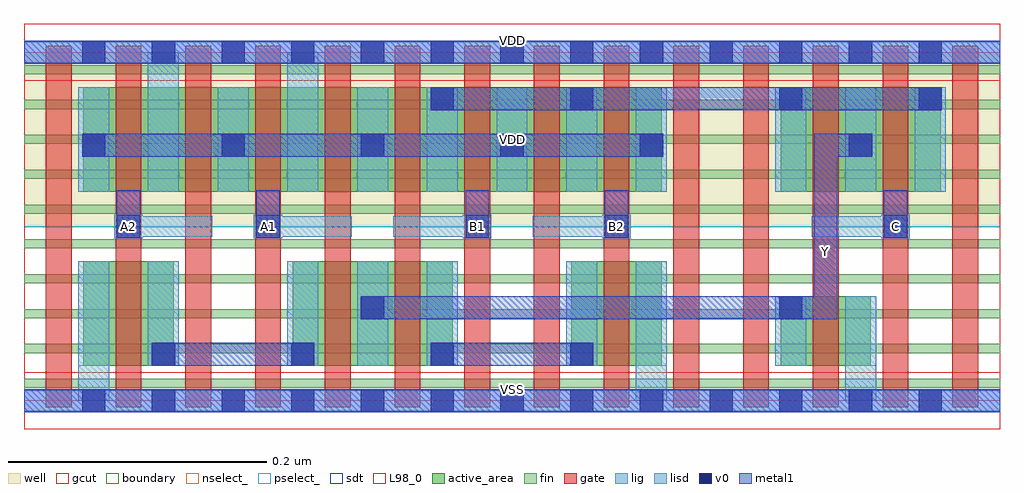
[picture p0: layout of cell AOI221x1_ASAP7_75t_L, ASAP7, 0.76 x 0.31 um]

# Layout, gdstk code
import gdstk
lib = gdstk.Library(unit=1e-6, precision=2.5e-10)
def R(c, l, rs):  # rectangles x0, y0, x1, y1
    for r in rs: c.add(gdstk.rectangle(r[:2], r[2:], *l))
def A(c, l, x, y, w, h, nx, ny, dx, dy):  # array of equal rectangles
    R(c, l, [(x+i*dx, y+j*dy, x+i*dx+w, y+j*dy+h) for i in range(nx) for j in range(ny)])
def P(c, l, *ps):  # polygons
    for p in ps: c.add(gdstk.Polygon(p, *l))
well = (1, 0)
fin = (2, 0)
gate = (7, 0)
gcut = (10, 0)
active_area = (11, 0)
nselect_ = (12, 0)
pselect_ = (13, 0)
lig = (16, 0)
lisd = (17, 0)
v0 = (18, 0)
metal1 = (19, 0)
sdt = (88, 0)
L98_0 = (98, 0)
boundary = (100, 0)

aoi221x1_asap7_75t_l = lib.new_cell('AOI221x1_ASAP7_75t_L')
R(aoi221x1_asap7_75t_l, well, [(0,0.135,0.756,0.27)])
A(aoi221x1_asap7_75t_l, fin, 0, 0.01, 0.756, 0.007, 1, 10, 0, 0.027)
A(aoi221x1_asap7_75t_l, gate, 0.017, -0.005, 0.02, 0.28, 14, 1, 0.054, 0)
R(aoi221x1_asap7_75t_l, gcut, [(0,-0.022,0.756,0.022), (0,0.248,0.756,0.292)])
R(aoi221x1_asap7_75t_l, active_area, [(0.046,0.027,0.116,0.108), (0.208,0.027,0.332,0.108), (0.424,0.027,0.494,0.108), (0.586,0.027,0.656,0.081), (0.046,0.162,0.494,0.243), (0.586,0.162,0.71,0.243)])
R(aoi221x1_asap7_75t_l, nselect_, [(0,0,0.756,0.135)])
R(aoi221x1_asap7_75t_l, pselect_, [(0,0.135,0.756,0.27)])
A(aoi221x1_asap7_75t_l, lig, 0.07, 0.127, 0.076, 0.016, 4, 1, 0.108, 0)
R(aoi221x1_asap7_75t_l, lig, [(0,-0.008,0.756,0.008), (0.07,0.126,0.092,0.144), (0.178,0.126,0.2,0.144), (0.34,0.126,0.362,0.144), (0.448,0.126,0.47,0.144), (0.664,0.126,0.686,0.144), (0.61,0.127,0.686,0.143), (0,0.262,0.756,0.278)])
A(aoi221x1_asap7_75t_l, lisd, 0.204, 0.027, 0.024, 0.081, 3, 1, 0.054, 0)
A(aoi221x1_asap7_75t_l, lisd, 0.042, 0.162, 0.024, 0.081, 3, 1, 0.108, 0)
A(aoi221x1_asap7_75t_l, lisd, 0.312, 0.162, 0.024, 0.081, 4, 1, 0.054, 0)
A(aoi221x1_asap7_75t_l, lisd, 0.582, 0.162, 0.024, 0.081, 3, 1, 0.054, 0)
R(aoi221x1_asap7_75t_l, lisd, [(0.042,0,0.066,0.108), (0.042,0,0.066,0.108), (0.474,0,0.498,0.108), (0.474,0,0.498,0.108), (0.636,0,0.66,0.081), (0.636,0,0.66,0.081), (0.096,0.027,0.12,0.108), (0.42,0.027,0.444,0.108), (0.582,0.027,0.606,0.081), (0.096,0.162,0.12,0.27), (0.096,0.162,0.12,0.27), (0.204,0.162,0.228,0.27), (0.204,0.162,0.228,0.27)])
A(aoi221x1_asap7_75t_l, v0, 0.045, -0.009, 0.018, 0.018, 13, 2, 0.054, 0.27)
A(aoi221x1_asap7_75t_l, v0, 0.099, 0.027, 0.018, 0.018, 4, 1, 0.108, 0)
A(aoi221x1_asap7_75t_l, v0, 0.045, 0.189, 0.018, 0.018, 5, 1, 0.108, 0)
R(aoi221x1_asap7_75t_l, v0, [(0.261,0.063,0.279,0.081), (0.585,0.063,0.603,0.081), (0.072,0.126,0.09,0.144), (0.18,0.126,0.198,0.144), (0.342,0.126,0.36,0.144), (0.45,0.126,0.468,0.144), (0.666,0.126,0.684,0.144), (0.639,0.189,0.657,0.207), (0.315,0.225,0.333,0.243), (0.423,0.225,0.441,0.243), (0.585,0.225,0.603,0.243), (0.693,0.225,0.711,0.243)])
A(aoi221x1_asap7_75t_l, metal1, 0.099, 0.027, 0.018, 0.018, 4, 1, 0.108, 0)
A(aoi221x1_asap7_75t_l, metal1, 0.045, 0.189, 0.018, 0.018, 5, 1, 0.108, 0)
R(aoi221x1_asap7_75t_l, metal1, [(0,-0.009,0.756,0.009), (0.099,0.027,0.225,0.045), (0.315,0.027,0.441,0.045), (0.261,0.063,0.279,0.081), (0.585,0.063,0.603,0.081), (0.072,0.126,0.09,0.144), (0.072,0.126,0.09,0.163), (0.18,0.126,0.198,0.144), (0.18,0.126,0.198,0.163), (0.342,0.126,0.36,0.144), (0.342,0.126,0.36,0.163), (0.45,0.126,0.468,0.144), (0.45,0.126,0.468,0.163), (0.666,0.126,0.684,0.144), (0.666,0.126,0.684,0.163), (0.045,0.189,0.495,0.207), (0.639,0.189,0.657,0.207), (0.315,0.225,0.333,0.243), (0.315,0.225,0.711,0.243), (0.423,0.225,0.441,0.243), (0.585,0.225,0.603,0.243), (0.693,0.225,0.711,0.243), (0,0.261,0.756,0.279)])
P(aoi221x1_asap7_75t_l, metal1, [(0.63,0.189),(0.657,0.189),(0.657,0.207),(0.612,0.207),(0.612,0.081),(0.261,0.081),(0.261,0.063),(0.63,0.063)])
A(aoi221x1_asap7_75t_l, sdt, 0.204, 0.027, 0.024, 0.081, 3, 1, 0.054, 0)
A(aoi221x1_asap7_75t_l, sdt, 0.096, 0.162, 0.024, 0.081, 3, 1, 0.054, 0)
A(aoi221x1_asap7_75t_l, sdt, 0.204, 0.162, 0.024, 0.081, 6, 1, 0.054, 0)
A(aoi221x1_asap7_75t_l, sdt, 0.582, 0.162, 0.024, 0.081, 3, 1, 0.054, 0)
R(aoi221x1_asap7_75t_l, sdt, [(0.042,0.027,0.066,0.108), (0.042,0.027,0.066,0.108), (0.096,0.027,0.12,0.108), (0.42,0.027,0.444,0.108), (0.474,0.027,0.498,0.108), (0.474,0.027,0.498,0.108), (0.582,0.027,0.606,0.081), (0.636,0.027,0.66,0.081), (0.636,0.027,0.66,0.081), (0.042,0.162,0.066,0.243), (0.096,0.162,0.12,0.243)])
R(aoi221x1_asap7_75t_l, L98_0, [(0,0,0.756,0.27)])
R(aoi221x1_asap7_75t_l, boundary, [(0,0,0.756,0.27)])
aoi221x1_asap7_75t_l.add(gdstk.Label('VDD', (0.378,0.2025), layer=1, texttype=251))
aoi221x1_asap7_75t_l.add(gdstk.Label('VSS', (0.378,-0.0675), layer=3, texttype=251))
aoi221x1_asap7_75t_l.add(gdstk.Label('VSS', (0.378,0.009), layer=19, texttype=251))
aoi221x1_asap7_75t_l.add(gdstk.Label('VDD', (0.378,0.279), layer=19, texttype=251))
aoi221x1_asap7_75t_l.add(gdstk.Label('A2', (0.081,0.135), layer=19, texttype=251))
aoi221x1_asap7_75t_l.add(gdstk.Label('A1', (0.189,0.135), layer=19, texttype=251))
aoi221x1_asap7_75t_l.add(gdstk.Label('Y', (0.621,0.116), layer=19, texttype=251))
aoi221x1_asap7_75t_l.add(gdstk.Label('B1', (0.351,0.135), layer=19, texttype=251))
aoi221x1_asap7_75t_l.add(gdstk.Label('B2', (0.459,0.135), layer=19, texttype=251))
aoi221x1_asap7_75t_l.add(gdstk.Label('C', (0.675,0.135), layer=19, texttype=251))

lib.write_gds('AOI221x1_ASAP7_75t_L.gds')
